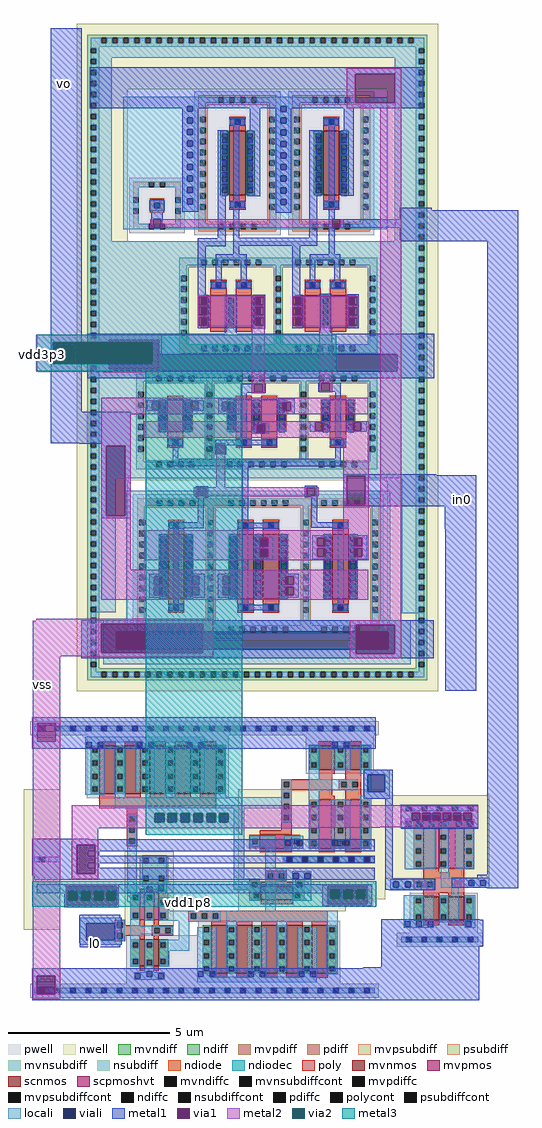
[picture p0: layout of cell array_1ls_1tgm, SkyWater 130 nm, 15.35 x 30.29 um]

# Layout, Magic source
magic
tech sky130A
magscale 1 2
<< metal1 >>
rect 174 5490 312 5888
rect 2612 2920 2804 3244
rect 2876 776 3068 2312
rect 252 705 590 718
rect 252 589 271 705
rect 579 589 590 705
rect 252 576 590 589
rect 1854 710 2164 716
rect 1854 594 1887 710
rect 2131 594 2164 710
rect 2816 698 3070 776
rect 2876 692 3068 698
rect 1854 582 2164 594
rect 348 326 598 530
<< via1 >>
rect 271 589 579 705
rect 1887 594 2131 710
<< metal2 >>
rect 158 4083 822 4102
rect 158 3947 182 4083
rect 798 3947 822 4083
rect 158 3928 822 3947
rect 56 1338 228 2354
rect 790 1159 1296 1188
rect 790 1103 815 1159
rect 871 1103 895 1159
rect 951 1103 975 1159
rect 1031 1103 1055 1159
rect 1111 1103 1135 1159
rect 1191 1103 1215 1159
rect 1271 1103 1296 1159
rect 790 1074 1296 1103
rect 260 705 590 718
rect 260 589 271 705
rect 579 589 590 705
rect 260 576 590 589
rect 1854 710 2164 716
rect 1854 594 1887 710
rect 2131 594 2164 710
rect 1854 582 2164 594
<< via2 >>
rect 182 3947 798 4083
rect 815 1103 871 1159
rect 895 1103 951 1159
rect 975 1103 1031 1159
rect 1055 1103 1111 1159
rect 1135 1103 1191 1159
rect 1215 1103 1271 1159
rect 277 619 333 675
rect 357 619 413 675
rect 437 619 493 675
rect 517 619 573 675
rect 1905 627 1961 683
rect 1985 627 2041 683
rect 2065 627 2121 683
<< metal3 >>
rect 80 4083 1940 4128
rect 80 3947 182 4083
rect 798 3947 1940 4083
rect 80 3904 1940 3947
rect 90 3902 1940 3904
rect 758 1159 1358 3902
rect 758 1103 815 1159
rect 871 1103 895 1159
rect 951 1103 975 1159
rect 1031 1103 1055 1159
rect 1111 1103 1135 1159
rect 1191 1103 1215 1159
rect 1271 1103 1358 1159
rect 758 1026 1358 1103
rect 52 683 2188 736
rect 52 675 1905 683
rect 52 619 277 675
rect 333 619 357 675
rect 413 619 437 675
rect 493 619 517 675
rect 573 627 1905 675
rect 1961 627 1985 683
rect 2041 627 2065 683
rect 2121 627 2188 683
rect 573 619 2188 627
rect 52 578 2188 619
rect 260 576 590 578
use array_1lsm  array_1lsm_0
transform 1 0 -2700 0 1 -202
box 2700 202 5594 1958
use array_1tgm  array_1tgm_0
transform -1 0 4964 0 1 1916
box 1896 0 4886 4141
<< labels >>
flabel metal1 s 2700 3074 2742 3132 0 FreeSans 625 0 0 0 in0
port 1 nsew
flabel metal1 s 436 344 454 354 0 FreeSans 625 0 0 0 l0
port 2 nsew
flabel metal2 s 108 1952 124 1970 0 FreeSans 506 0 0 0 vss
port 3 nsew
flabel metal1 s 238 5644 260 5726 0 FreeSans 506 0 0 0 vo
port 4 nsew
flabel metal3 s 104 3976 124 4042 0 FreeSans 506 0 0 0 vdd3p3
port 5 nsew
flabel metal3 s 1020 598 1032 616 0 FreeSans 506 0 0 0 vdd1p8
port 6 nsew
<< end >>

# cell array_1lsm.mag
magic
tech sky130A
magscale 1 2
<< nwell >>
rect 4708 1220 4990 1474
rect 4708 954 5496 1220
<< metal1 >>
rect 4944 1220 4990 1632
rect 5082 1365 5508 1392
rect 5082 1313 5109 1365
rect 5161 1313 5173 1365
rect 5225 1313 5237 1365
rect 5289 1313 5301 1365
rect 5353 1313 5365 1365
rect 5417 1313 5429 1365
rect 5481 1313 5508 1365
rect 5082 1286 5508 1313
rect 2998 1164 3170 1200
rect 2998 984 3028 1164
rect 3144 984 3170 1164
rect 2998 954 3170 984
rect 3000 952 3168 954
rect 3658 866 3942 920
rect 4944 886 4992 1220
rect 5480 900 5594 960
rect 3044 558 3300 726
rect 4918 406 5528 702
rect 4806 202 5528 406
<< via1 >>
rect 5109 1313 5161 1365
rect 5173 1313 5225 1365
rect 5237 1313 5289 1365
rect 5301 1313 5353 1365
rect 5365 1313 5417 1365
rect 5429 1313 5481 1365
rect 3028 984 3144 1164
<< metal2 >>
rect 5042 1410 5518 1412
rect 3000 1408 3162 1410
rect 3684 1408 5522 1410
rect 3000 1365 5522 1408
rect 3000 1313 5109 1365
rect 5161 1313 5173 1365
rect 5225 1313 5237 1365
rect 5289 1313 5301 1365
rect 5353 1313 5365 1365
rect 5417 1313 5429 1365
rect 5481 1313 5522 1365
rect 3000 1274 5522 1313
rect 3000 1272 4910 1274
rect 3000 1270 4760 1272
rect 5042 1270 5518 1274
rect 3000 1268 4526 1270
rect 3000 1164 3162 1268
rect 3000 984 3028 1164
rect 3144 984 3162 1164
rect 3000 952 3162 984
use invm  invm_0
transform 1 0 2804 0 1 226
box 2164 308 2788 1248
use lsm  lsm_0
transform 1 0 2766 0 1 260
box -66 -58 2206 1698
<< labels >>
flabel metal1 s 5522 926 5530 946 0 FreeSans 9304 0 0 0 h0
port 1 nsew
flabel metal1 s 3062 674 3076 714 0 FreeSans 9304 0 0 0 l0
port 2 nsew
flabel metal1 s 3674 878 3682 896 0 FreeSans 3757 0 0 0 vdd1p8
port 3 nsew
flabel metal2 s 3574 1306 3582 1324 0 FreeSans 3757 0 0 0 vdd3p3
port 4 nsew
flabel metal1 s 5156 310 5198 340 0 FreeSans 3757 0 0 0 vss1p8
port 5 nsew
<< end >>

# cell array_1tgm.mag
magic
tech sky130A
magscale 1 2
<< metal1 >>
rect 1896 2794 2621 2986
rect 1896 14 2088 2794
rect 4120 2183 4442 2190
rect 4120 2003 4127 2183
rect 4435 2003 4442 2183
rect 4120 1996 4442 2003
rect 4604 1732 4796 4114
rect 4418 1540 4796 1732
rect 2156 1148 2603 1340
rect 2156 4 2348 1148
rect 3846 420 4488 422
rect 3846 240 3853 420
rect 4481 240 4488 420
rect 3846 238 4488 240
<< via1 >>
rect 4127 2003 4435 2183
rect 3853 240 4481 420
<< metal2 >>
rect 4108 2212 4466 2214
rect 4108 2183 4886 2212
rect 4108 2003 4127 2183
rect 4435 2003 4886 2183
rect 4108 1984 4886 2003
rect 4108 1980 4466 1984
rect 3790 438 4886 450
rect 3788 420 4886 438
rect 3788 240 3853 420
rect 4481 240 4886 420
rect 3788 218 4886 240
rect 3788 214 4602 218
use tg4dm  tg4dm_1
transform 1 0 2091 0 1 2311
box 301 -2311 2543 1830
<< labels >>
flabel metal2 s 4744 238 4812 390 0 FreeSans 5955 0 0 0 vss3p3
port 1 nsew
flabel metal2 s 4836 2020 4874 2114 0 FreeSans 5955 0 0 0 vdd3p3
port 2 nsew
flabel metal1 s 1926 68 1964 162 0 FreeSans 5955 0 0 0 s0
port 3 nsew
flabel metal1 s 2210 58 2248 152 0 FreeSans 5955 0 0 0 in0
port 4 nsew
flabel metal1 s 4698 3594 4722 3660 0 FreeSans 506 0 0 0 vo
port 5 nsew
<< end >>

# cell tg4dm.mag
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
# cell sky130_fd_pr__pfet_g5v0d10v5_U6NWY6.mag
magic
tech sky130A
magscale 1 2
<< nwell >>
rect -308 -362 308 362
<< mvpmos >>
rect -50 -64 50 136
<< mvpdiff >>
rect -108 121 -50 136
rect -108 87 -96 121
rect -62 87 -50 121
rect -108 53 -50 87
rect -108 19 -96 53
rect -62 19 -50 53
rect -108 -15 -50 19
rect -108 -49 -96 -15
rect -62 -49 -50 -15
rect -108 -64 -50 -49
rect 50 121 108 136
rect 50 87 62 121
rect 96 87 108 121
rect 50 53 108 87
rect 50 19 62 53
rect 96 19 108 53
rect 50 -15 108 19
rect 50 -49 62 -15
rect 96 -49 108 -15
rect 50 -64 108 -49
<< mvpdiffc >>
rect -96 87 -62 121
rect -96 19 -62 53
rect -96 -49 -62 -15
rect 62 87 96 121
rect 62 19 96 53
rect 62 -49 96 -15
<< mvnsubdiff >>
rect -242 284 242 296
rect -242 250 -119 284
rect -85 250 -51 284
rect -17 250 17 284
rect 51 250 85 284
rect 119 250 242 284
rect -242 238 242 250
rect -242 187 -184 238
rect -242 153 -230 187
rect -196 153 -184 187
rect 184 187 242 238
rect -242 119 -184 153
rect 184 153 196 187
rect 230 153 242 187
rect -242 85 -230 119
rect -196 85 -184 119
rect -242 51 -184 85
rect -242 17 -230 51
rect -196 17 -184 51
rect -242 -17 -184 17
rect -242 -51 -230 -17
rect -196 -51 -184 -17
rect -242 -85 -184 -51
rect 184 119 242 153
rect 184 85 196 119
rect 230 85 242 119
rect 184 51 242 85
rect 184 17 196 51
rect 230 17 242 51
rect 184 -17 242 17
rect 184 -51 196 -17
rect 230 -51 242 -17
rect -242 -119 -230 -85
rect -196 -119 -184 -85
rect -242 -153 -184 -119
rect -242 -187 -230 -153
rect -196 -187 -184 -153
rect 184 -85 242 -51
rect 184 -119 196 -85
rect 230 -119 242 -85
rect 184 -153 242 -119
rect -242 -238 -184 -187
rect 184 -187 196 -153
rect 230 -187 242 -153
rect 184 -238 242 -187
rect -242 -250 242 -238
rect -242 -284 -119 -250
rect -85 -284 -51 -250
rect -17 -284 17 -250
rect 51 -284 85 -250
rect 119 -284 242 -250
rect -242 -296 242 -284
<< mvnsubdiffcont >>
rect -119 250 -85 284
rect -51 250 -17 284
rect 17 250 51 284
rect 85 250 119 284
rect -230 153 -196 187
rect 196 153 230 187
rect -230 85 -196 119
rect -230 17 -196 51
rect -230 -51 -196 -17
rect 196 85 230 119
rect 196 17 230 51
rect 196 -51 230 -17
rect -230 -119 -196 -85
rect -230 -187 -196 -153
rect 196 -119 230 -85
rect 196 -187 230 -153
rect -119 -284 -85 -250
rect -51 -284 -17 -250
rect 17 -284 51 -250
rect 85 -284 119 -250
<< poly >>
rect -50 136 50 162
rect -50 -111 50 -64
rect -50 -145 -17 -111
rect 17 -145 50 -111
rect -50 -161 50 -145
<< polycont >>
rect -17 -145 17 -111
<< locali >>
rect -230 250 -119 284
rect -85 250 -51 284
rect -17 250 17 284
rect 51 250 85 284
rect 119 250 230 284
rect -230 187 -196 250
rect -230 119 -196 153
rect 196 187 230 250
rect -230 51 -196 85
rect -230 -17 -196 17
rect -230 -85 -196 -51
rect -96 121 -62 140
rect -96 53 -62 55
rect -96 17 -62 19
rect -96 -68 -62 -49
rect 62 121 96 140
rect 62 53 96 55
rect 62 17 96 19
rect 62 -68 96 -49
rect 196 119 230 153
rect 196 51 230 85
rect 196 -17 230 17
rect 196 -85 230 -51
rect -230 -153 -196 -119
rect -50 -145 -17 -111
rect 17 -145 50 -111
rect -230 -250 -196 -187
rect 196 -153 230 -119
rect 196 -250 230 -187
rect -230 -284 -119 -250
rect -85 -284 -51 -250
rect -17 -284 17 -250
rect 51 -284 85 -250
rect 119 -284 230 -250
<< viali >>
rect -96 87 -62 89
rect -96 55 -62 87
rect -96 -15 -62 17
rect -96 -17 -62 -15
rect 62 87 96 89
rect 62 55 96 87
rect 62 -15 96 17
rect 62 -17 96 -15
rect -17 -145 17 -111
<< metal1 >>
rect -102 89 -56 136
rect -102 55 -96 89
rect -62 55 -56 89
rect -102 17 -56 55
rect -102 -17 -96 17
rect -62 -17 -56 17
rect -102 -64 -56 -17
rect 56 89 102 136
rect 56 55 62 89
rect 96 55 102 89
rect 56 17 102 55
rect 56 -17 62 17
rect 96 -17 102 17
rect 56 -64 102 -17
rect -46 -111 46 -105
rect -46 -145 -17 -111
rect 17 -145 46 -111
rect -46 -151 46 -145
<< properties >>
string FIXED_BBOX -213 -267 213 267
<< end >>

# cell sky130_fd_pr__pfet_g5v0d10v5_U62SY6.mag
magic
tech sky130A
magscale 1 2
<< nwell >>
rect -387 -362 387 362
<< mvpmos >>
rect -129 -64 -29 136
rect 29 -64 129 136
<< mvpdiff >>
rect -187 121 -129 136
rect -187 87 -175 121
rect -141 87 -129 121
rect -187 53 -129 87
rect -187 19 -175 53
rect -141 19 -129 53
rect -187 -15 -129 19
rect -187 -49 -175 -15
rect -141 -49 -129 -15
rect -187 -64 -129 -49
rect -29 121 29 136
rect -29 87 -17 121
rect 17 87 29 121
rect -29 53 29 87
rect -29 19 -17 53
rect 17 19 29 53
rect -29 -15 29 19
rect -29 -49 -17 -15
rect 17 -49 29 -15
rect -29 -64 29 -49
rect 129 121 187 136
rect 129 87 141 121
rect 175 87 187 121
rect 129 53 187 87
rect 129 19 141 53
rect 175 19 187 53
rect 129 -15 187 19
rect 129 -49 141 -15
rect 175 -49 187 -15
rect 129 -64 187 -49
<< mvpdiffc >>
rect -175 87 -141 121
rect -175 19 -141 53
rect -175 -49 -141 -15
rect -17 87 17 121
rect -17 19 17 53
rect -17 -49 17 -15
rect 141 87 175 121
rect 141 19 175 53
rect 141 -49 175 -15
<< mvnsubdiff >>
rect -321 284 321 296
rect -321 250 -187 284
rect -153 250 -119 284
rect -85 250 -51 284
rect -17 250 17 284
rect 51 250 85 284
rect 119 250 153 284
rect 187 250 321 284
rect -321 238 321 250
rect -321 187 -263 238
rect -321 153 -309 187
rect -275 153 -263 187
rect 263 187 321 238
rect -321 119 -263 153
rect 263 153 275 187
rect 309 153 321 187
rect -321 85 -309 119
rect -275 85 -263 119
rect -321 51 -263 85
rect -321 17 -309 51
rect -275 17 -263 51
rect -321 -17 -263 17
rect -321 -51 -309 -17
rect -275 -51 -263 -17
rect -321 -85 -263 -51
rect 263 119 321 153
rect 263 85 275 119
rect 309 85 321 119
rect 263 51 321 85
rect 263 17 275 51
rect 309 17 321 51
rect 263 -17 321 17
rect 263 -51 275 -17
rect 309 -51 321 -17
rect -321 -119 -309 -85
rect -275 -119 -263 -85
rect -321 -153 -263 -119
rect -321 -187 -309 -153
rect -275 -187 -263 -153
rect 263 -85 321 -51
rect 263 -119 275 -85
rect 309 -119 321 -85
rect 263 -153 321 -119
rect -321 -238 -263 -187
rect 263 -187 275 -153
rect 309 -187 321 -153
rect 263 -238 321 -187
rect -321 -250 321 -238
rect -321 -284 -187 -250
rect -153 -284 -119 -250
rect -85 -284 -51 -250
rect -17 -284 17 -250
rect 51 -284 85 -250
rect 119 -284 153 -250
rect 187 -284 321 -250
rect -321 -296 321 -284
<< mvnsubdiffcont >>
rect -187 250 -153 284
rect -119 250 -85 284
rect -51 250 -17 284
rect 17 250 51 284
rect 85 250 119 284
rect 153 250 187 284
rect -309 153 -275 187
rect 275 153 309 187
rect -309 85 -275 119
rect -309 17 -275 51
rect -309 -51 -275 -17
rect 275 85 309 119
rect 275 17 309 51
rect 275 -51 309 -17
rect -309 -119 -275 -85
rect -309 -187 -275 -153
rect 275 -119 309 -85
rect 275 -187 309 -153
rect -187 -284 -153 -250
rect -119 -284 -85 -250
rect -51 -284 -17 -250
rect 17 -284 51 -250
rect 85 -284 119 -250
rect 153 -284 187 -250
<< poly >>
rect -129 136 -29 162
rect 29 136 129 162
rect -129 -111 -29 -64
rect -129 -145 -96 -111
rect -62 -145 -29 -111
rect -129 -161 -29 -145
rect 29 -111 129 -64
rect 29 -145 62 -111
rect 96 -145 129 -111
rect 29 -161 129 -145
<< polycont >>
rect -96 -145 -62 -111
rect 62 -145 96 -111
<< locali >>
rect -309 250 -187 284
rect -153 250 -119 284
rect -85 250 -51 284
rect -17 250 17 284
rect 51 250 85 284
rect 119 250 153 284
rect 187 250 309 284
rect -309 187 -275 250
rect -309 119 -275 153
rect 275 187 309 250
rect -309 51 -275 85
rect -309 -17 -275 17
rect -309 -85 -275 -51
rect -175 121 -141 140
rect -175 53 -141 55
rect -175 17 -141 19
rect -175 -68 -141 -49
rect -17 121 17 140
rect -17 53 17 55
rect -17 17 17 19
rect -17 -68 17 -49
rect 141 121 175 140
rect 141 53 175 55
rect 141 17 175 19
rect 141 -68 175 -49
rect 275 119 309 153
rect 275 51 309 85
rect 275 -17 309 17
rect 275 -85 309 -51
rect -309 -153 -275 -119
rect -129 -145 -96 -111
rect -62 -145 -29 -111
rect 29 -145 62 -111
rect 96 -145 129 -111
rect -309 -250 -275 -187
rect 275 -153 309 -119
rect 275 -250 309 -187
rect -309 -284 -187 -250
rect -153 -284 -119 -250
rect -85 -284 -51 -250
rect -17 -284 17 -250
rect 51 -284 85 -250
rect 119 -284 153 -250
rect 187 -284 309 -250
<< viali >>
rect -175 87 -141 89
rect -175 55 -141 87
rect -175 -15 -141 17
rect -175 -17 -141 -15
rect -17 87 17 89
rect -17 55 17 87
rect -17 -15 17 17
rect -17 -17 17 -15
rect 141 87 175 89
rect 141 55 175 87
rect 141 -15 175 17
rect 141 -17 175 -15
rect -96 -145 -62 -111
rect 62 -145 96 -111
<< metal1 >>
rect -181 89 -135 136
rect -181 55 -175 89
rect -141 55 -135 89
rect -181 17 -135 55
rect -181 -17 -175 17
rect -141 -17 -135 17
rect -181 -64 -135 -17
rect -23 89 23 136
rect -23 55 -17 89
rect 17 55 23 89
rect -23 17 23 55
rect -23 -17 -17 17
rect 17 -17 23 17
rect -23 -64 23 -17
rect 135 89 181 136
rect 135 55 141 89
rect 175 55 181 89
rect 135 17 181 55
rect 135 -17 141 17
rect 175 -17 181 17
rect 135 -64 181 -17
rect -125 -111 -33 -105
rect -125 -145 -96 -111
rect -62 -145 -33 -111
rect -125 -151 -33 -145
rect 33 -111 125 -105
rect 33 -145 62 -111
rect 96 -145 125 -111
rect 33 -151 125 -145
<< properties >>
string FIXED_BBOX -292 -267 292 267
<< end >>

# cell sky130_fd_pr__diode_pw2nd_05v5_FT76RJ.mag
magic
tech sky130A
magscale 1 2
<< pwell >>
rect -173 -173 173 173
<< psubdiff >>
rect -147 113 -51 147
rect -17 113 17 147
rect 51 113 147 147
rect -147 51 -113 113
rect 113 51 147 113
rect -147 -17 -113 17
rect 113 -17 147 17
rect -147 -113 -113 -51
rect 113 -113 147 -51
rect -147 -147 -51 -113
rect -17 -147 17 -113
rect 51 -147 147 -113
<< psubdiffcont >>
rect -51 113 -17 147
rect 17 113 51 147
rect -147 17 -113 51
rect -147 -51 -113 -17
rect 113 17 147 51
rect 113 -51 147 -17
rect -51 -147 -17 -113
rect 17 -147 51 -113
<< ndiode >>
rect -45 17 45 45
rect -45 -17 -17 17
rect 17 -17 45 17
rect -45 -45 45 -17
<< ndiodec >>
rect -17 -17 17 17
<< locali >>
rect -147 113 -51 147
rect -17 113 17 147
rect 51 113 147 147
rect -147 51 -113 113
rect 113 51 147 113
rect -147 -17 -113 17
rect -49 17 49 33
rect -49 -17 -17 17
rect 17 -17 49 17
rect -49 -33 49 -17
rect 113 -17 147 17
rect -147 -113 -113 -51
rect 113 -113 147 -51
rect -147 -147 -51 -113
rect -17 -147 17 -113
rect 51 -147 147 -113
<< viali >>
rect -17 -17 17 17
<< metal1 >>
rect -45 17 45 39
rect -45 -17 -17 17
rect 17 -17 45 17
rect -45 -39 45 -17
<< properties >>
string FIXED_BBOX -130 -130 130 130
<< end >>

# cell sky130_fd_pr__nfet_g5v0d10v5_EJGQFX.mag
magic
tech sky130A
magscale 1 2
<< pwell >>
rect -347 -448 347 448
<< mvnmos >>
rect -129 -200 -29 200
rect 29 -200 129 200
<< mvndiff >>
rect -187 187 -129 200
rect -187 153 -175 187
rect -141 153 -129 187
rect -187 119 -129 153
rect -187 85 -175 119
rect -141 85 -129 119
rect -187 51 -129 85
rect -187 17 -175 51
rect -141 17 -129 51
rect -187 -17 -129 17
rect -187 -51 -175 -17
rect -141 -51 -129 -17
rect -187 -85 -129 -51
rect -187 -119 -175 -85
rect -141 -119 -129 -85
rect -187 -153 -129 -119
rect -187 -187 -175 -153
rect -141 -187 -129 -153
rect -187 -200 -129 -187
rect -29 187 29 200
rect -29 153 -17 187
rect 17 153 29 187
rect -29 119 29 153
rect -29 85 -17 119
rect 17 85 29 119
rect -29 51 29 85
rect -29 17 -17 51
rect 17 17 29 51
rect -29 -17 29 17
rect -29 -51 -17 -17
rect 17 -51 29 -17
rect -29 -85 29 -51
rect -29 -119 -17 -85
rect 17 -119 29 -85
rect -29 -153 29 -119
rect -29 -187 -17 -153
rect 17 -187 29 -153
rect -29 -200 29 -187
rect 129 187 187 200
rect 129 153 141 187
rect 175 153 187 187
rect 129 119 187 153
rect 129 85 141 119
rect 175 85 187 119
rect 129 51 187 85
rect 129 17 141 51
rect 175 17 187 51
rect 129 -17 187 17
rect 129 -51 141 -17
rect 175 -51 187 -17
rect 129 -85 187 -51
rect 129 -119 141 -85
rect 175 -119 187 -85
rect 129 -153 187 -119
rect 129 -187 141 -153
rect 175 -187 187 -153
rect 129 -200 187 -187
<< mvndiffc >>
rect -175 153 -141 187
rect -175 85 -141 119
rect -175 17 -141 51
rect -175 -51 -141 -17
rect -175 -119 -141 -85
rect -175 -187 -141 -153
rect -17 153 17 187
rect -17 85 17 119
rect -17 17 17 51
rect -17 -51 17 -17
rect -17 -119 17 -85
rect -17 -187 17 -153
rect 141 153 175 187
rect 141 85 175 119
rect 141 17 175 51
rect 141 -51 175 -17
rect 141 -119 175 -85
rect 141 -187 175 -153
<< mvpsubdiff >>
rect -321 410 321 422
rect -321 376 -187 410
rect -153 376 -119 410
rect -85 376 -51 410
rect -17 376 17 410
rect 51 376 85 410
rect 119 376 153 410
rect 187 376 321 410
rect -321 364 321 376
rect -321 -364 -263 364
rect 263 -364 321 364
rect -321 -376 321 -364
rect -321 -410 -187 -376
rect -153 -410 -119 -376
rect -85 -410 -51 -376
rect -17 -410 17 -376
rect 51 -410 85 -376
rect 119 -410 153 -376
rect 187 -410 321 -376
rect -321 -422 321 -410
<< mvpsubdiffcont >>
rect -187 376 -153 410
rect -119 376 -85 410
rect -51 376 -17 410
rect 17 376 51 410
rect 85 376 119 410
rect 153 376 187 410
rect -187 -410 -153 -376
rect -119 -410 -85 -376
rect -51 -410 -17 -376
rect 17 -410 51 -376
rect 85 -410 119 -376
rect 153 -410 187 -376
<< poly >>
rect -129 272 -29 288
rect -129 238 -96 272
rect -62 238 -29 272
rect -129 200 -29 238
rect 29 272 129 288
rect 29 238 62 272
rect 96 238 129 272
rect 29 200 129 238
rect -129 -238 -29 -200
rect -129 -272 -96 -238
rect -62 -272 -29 -238
rect -129 -288 -29 -272
rect 29 -238 129 -200
rect 29 -272 62 -238
rect 96 -272 129 -238
rect 29 -288 129 -272
<< polycont >>
rect -96 238 -62 272
rect 62 238 96 272
rect -96 -272 -62 -238
rect 62 -272 96 -238
<< locali >>
rect -309 376 -187 410
rect -153 376 -119 410
rect -85 376 -51 410
rect -17 376 17 410
rect 51 376 85 410
rect 119 376 153 410
rect 187 376 309 410
rect -309 -376 -275 376
rect -129 238 -96 272
rect -62 238 -29 272
rect 29 238 62 272
rect 96 238 129 272
rect -175 187 -141 204
rect -175 119 -141 127
rect -175 51 -141 55
rect -175 -55 -141 -51
rect -175 -127 -141 -119
rect -175 -204 -141 -187
rect -17 187 17 204
rect -17 119 17 127
rect -17 51 17 55
rect -17 -55 17 -51
rect -17 -127 17 -119
rect -17 -204 17 -187
rect 141 187 175 204
rect 141 119 175 127
rect 141 51 175 55
rect 141 -55 175 -51
rect 141 -127 175 -119
rect 141 -204 175 -187
rect -129 -272 -96 -238
rect -62 -272 -29 -238
rect 29 -272 62 -238
rect 96 -272 129 -238
rect 275 -376 309 376
rect -309 -410 -187 -376
rect -153 -410 -119 -376
rect -85 -410 -51 -376
rect -17 -410 17 -376
rect 51 -410 85 -376
rect 119 -410 153 -376
rect 187 -410 309 -376
<< viali >>
rect -96 238 -62 272
rect 62 238 96 272
rect -175 153 -141 161
rect -175 127 -141 153
rect -175 85 -141 89
rect -175 55 -141 85
rect -175 -17 -141 17
rect -175 -85 -141 -55
rect -175 -89 -141 -85
rect -175 -153 -141 -127
rect -175 -161 -141 -153
rect -17 153 17 161
rect -17 127 17 153
rect -17 85 17 89
rect -17 55 17 85
rect -17 -17 17 17
rect -17 -85 17 -55
rect -17 -89 17 -85
rect -17 -153 17 -127
rect -17 -161 17 -153
rect 141 153 175 161
rect 141 127 175 153
rect 141 85 175 89
rect 141 55 175 85
rect 141 -17 175 17
rect 141 -85 175 -55
rect 141 -89 175 -85
rect 141 -153 175 -127
rect 141 -161 175 -153
rect -96 -272 -62 -238
rect 62 -272 96 -238
<< metal1 >>
rect -125 272 -33 278
rect -125 238 -96 272
rect -62 238 -33 272
rect -125 232 -33 238
rect 33 272 125 278
rect 33 238 62 272
rect 96 238 125 272
rect 33 232 125 238
rect -181 161 -135 200
rect -181 127 -175 161
rect -141 127 -135 161
rect -181 89 -135 127
rect -181 55 -175 89
rect -141 55 -135 89
rect -181 17 -135 55
rect -181 -17 -175 17
rect -141 -17 -135 17
rect -181 -55 -135 -17
rect -181 -89 -175 -55
rect -141 -89 -135 -55
rect -181 -127 -135 -89
rect -181 -161 -175 -127
rect -141 -161 -135 -127
rect -181 -200 -135 -161
rect -23 161 23 200
rect -23 127 -17 161
rect 17 127 23 161
rect -23 89 23 127
rect -23 55 -17 89
rect 17 55 23 89
rect -23 17 23 55
rect -23 -17 -17 17
rect 17 -17 23 17
rect -23 -55 23 -17
rect -23 -89 -17 -55
rect 17 -89 23 -55
rect -23 -127 23 -89
rect -23 -161 -17 -127
rect 17 -161 23 -127
rect -23 -200 23 -161
rect 135 161 181 200
rect 135 127 141 161
rect 175 127 181 161
rect 135 89 181 127
rect 135 55 141 89
rect 175 55 181 89
rect 135 17 181 55
rect 135 -17 141 17
rect 175 -17 181 17
rect 135 -55 181 -17
rect 135 -89 141 -55
rect 175 -89 181 -55
rect 135 -127 181 -89
rect 135 -161 141 -127
rect 175 -161 181 -127
rect 135 -200 181 -161
rect -125 -238 -33 -232
rect -125 -272 -96 -238
rect -62 -272 -33 -238
rect -125 -278 -33 -272
rect 33 -238 125 -232
rect 33 -272 62 -238
rect 96 -272 125 -238
rect 33 -278 125 -272
<< properties >>
string FIXED_BBOX -292 -393 292 393
<< end >>

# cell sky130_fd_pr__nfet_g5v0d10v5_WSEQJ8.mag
magic
tech sky130A
magscale 1 2
<< pwell >>
rect -268 -448 268 448
<< mvnmos >>
rect -50 -200 50 200
<< mvndiff >>
rect -108 187 -50 200
rect -108 153 -96 187
rect -62 153 -50 187
rect -108 119 -50 153
rect -108 85 -96 119
rect -62 85 -50 119
rect -108 51 -50 85
rect -108 17 -96 51
rect -62 17 -50 51
rect -108 -17 -50 17
rect -108 -51 -96 -17
rect -62 -51 -50 -17
rect -108 -85 -50 -51
rect -108 -119 -96 -85
rect -62 -119 -50 -85
rect -108 -153 -50 -119
rect -108 -187 -96 -153
rect -62 -187 -50 -153
rect -108 -200 -50 -187
rect 50 187 108 200
rect 50 153 62 187
rect 96 153 108 187
rect 50 119 108 153
rect 50 85 62 119
rect 96 85 108 119
rect 50 51 108 85
rect 50 17 62 51
rect 96 17 108 51
rect 50 -17 108 17
rect 50 -51 62 -17
rect 96 -51 108 -17
rect 50 -85 108 -51
rect 50 -119 62 -85
rect 96 -119 108 -85
rect 50 -153 108 -119
rect 50 -187 62 -153
rect 96 -187 108 -153
rect 50 -200 108 -187
<< mvndiffc >>
rect -96 153 -62 187
rect -96 85 -62 119
rect -96 17 -62 51
rect -96 -51 -62 -17
rect -96 -119 -62 -85
rect -96 -187 -62 -153
rect 62 153 96 187
rect 62 85 96 119
rect 62 17 96 51
rect 62 -51 96 -17
rect 62 -119 96 -85
rect 62 -187 96 -153
<< mvpsubdiff >>
rect -242 410 242 422
rect -242 376 -119 410
rect -85 376 -51 410
rect -17 376 17 410
rect 51 376 85 410
rect 119 376 242 410
rect -242 364 242 376
rect -242 289 -184 364
rect -242 255 -230 289
rect -196 255 -184 289
rect 184 289 242 364
rect -242 221 -184 255
rect -242 187 -230 221
rect -196 187 -184 221
rect 184 255 196 289
rect 230 255 242 289
rect 184 221 242 255
rect -242 153 -184 187
rect -242 119 -230 153
rect -196 119 -184 153
rect -242 85 -184 119
rect -242 51 -230 85
rect -196 51 -184 85
rect -242 17 -184 51
rect -242 -17 -230 17
rect -196 -17 -184 17
rect -242 -51 -184 -17
rect -242 -85 -230 -51
rect -196 -85 -184 -51
rect -242 -119 -184 -85
rect -242 -153 -230 -119
rect -196 -153 -184 -119
rect -242 -187 -184 -153
rect -242 -221 -230 -187
rect -196 -221 -184 -187
rect 184 187 196 221
rect 230 187 242 221
rect 184 153 242 187
rect 184 119 196 153
rect 230 119 242 153
rect 184 85 242 119
rect 184 51 196 85
rect 230 51 242 85
rect 184 17 242 51
rect 184 -17 196 17
rect 230 -17 242 17
rect 184 -51 242 -17
rect 184 -85 196 -51
rect 230 -85 242 -51
rect 184 -119 242 -85
rect 184 -153 196 -119
rect 230 -153 242 -119
rect 184 -187 242 -153
rect -242 -255 -184 -221
rect -242 -289 -230 -255
rect -196 -289 -184 -255
rect 184 -221 196 -187
rect 230 -221 242 -187
rect 184 -255 242 -221
rect -242 -364 -184 -289
rect 184 -289 196 -255
rect 230 -289 242 -255
rect 184 -364 242 -289
rect -242 -376 242 -364
rect -242 -410 -119 -376
rect -85 -410 -51 -376
rect -17 -410 17 -376
rect 51 -410 85 -376
rect 119 -410 242 -376
rect -242 -422 242 -410
<< mvpsubdiffcont >>
rect -119 376 -85 410
rect -51 376 -17 410
rect 17 376 51 410
rect 85 376 119 410
rect -230 255 -196 289
rect -230 187 -196 221
rect 196 255 230 289
rect -230 119 -196 153
rect -230 51 -196 85
rect -230 -17 -196 17
rect -230 -85 -196 -51
rect -230 -153 -196 -119
rect -230 -221 -196 -187
rect 196 187 230 221
rect 196 119 230 153
rect 196 51 230 85
rect 196 -17 230 17
rect 196 -85 230 -51
rect 196 -153 230 -119
rect -230 -289 -196 -255
rect 196 -221 230 -187
rect 196 -289 230 -255
rect -119 -410 -85 -376
rect -51 -410 -17 -376
rect 17 -410 51 -376
rect 85 -410 119 -376
<< poly >>
rect -50 272 50 288
rect -50 238 -17 272
rect 17 238 50 272
rect -50 200 50 238
rect -50 -238 50 -200
rect -50 -272 -17 -238
rect 17 -272 50 -238
rect -50 -288 50 -272
<< polycont >>
rect -17 238 17 272
rect -17 -272 17 -238
<< locali >>
rect -230 376 -119 410
rect -85 376 -51 410
rect -17 376 17 410
rect 51 376 85 410
rect 119 376 230 410
rect -230 289 -196 376
rect 196 289 230 376
rect -230 221 -196 255
rect -50 238 -17 272
rect 17 238 50 272
rect 196 221 230 255
rect -230 153 -196 187
rect -230 85 -196 119
rect -230 17 -196 51
rect -230 -51 -196 -17
rect -230 -119 -196 -85
rect -230 -187 -196 -153
rect -96 187 -62 204
rect -96 119 -62 127
rect -96 51 -62 55
rect -96 -55 -62 -51
rect -96 -127 -62 -119
rect -96 -204 -62 -187
rect 62 187 96 204
rect 62 119 96 127
rect 62 51 96 55
rect 62 -55 96 -51
rect 62 -127 96 -119
rect 62 -204 96 -187
rect 196 153 230 187
rect 196 85 230 119
rect 196 17 230 51
rect 196 -51 230 -17
rect 196 -119 230 -85
rect 196 -187 230 -153
rect -230 -255 -196 -221
rect -50 -272 -17 -238
rect 17 -272 50 -238
rect 196 -255 230 -221
rect -230 -376 -196 -289
rect 196 -376 230 -289
rect -230 -410 -119 -376
rect -85 -410 -51 -376
rect -17 -410 17 -376
rect 51 -410 85 -376
rect 119 -410 230 -376
<< viali >>
rect -17 238 17 272
rect -96 153 -62 161
rect -96 127 -62 153
rect -96 85 -62 89
rect -96 55 -62 85
rect -96 -17 -62 17
rect -96 -85 -62 -55
rect -96 -89 -62 -85
rect -96 -153 -62 -127
rect -96 -161 -62 -153
rect 62 153 96 161
rect 62 127 96 153
rect 62 85 96 89
rect 62 55 96 85
rect 62 -17 96 17
rect 62 -85 96 -55
rect 62 -89 96 -85
rect 62 -153 96 -127
rect 62 -161 96 -153
rect -17 -272 17 -238
<< metal1 >>
rect -46 272 46 278
rect -46 238 -17 272
rect 17 238 46 272
rect -46 232 46 238
rect -102 161 -56 200
rect -102 127 -96 161
rect -62 127 -56 161
rect -102 89 -56 127
rect -102 55 -96 89
rect -62 55 -56 89
rect -102 17 -56 55
rect -102 -17 -96 17
rect -62 -17 -56 17
rect -102 -55 -56 -17
rect -102 -89 -96 -55
rect -62 -89 -56 -55
rect -102 -127 -56 -89
rect -102 -161 -96 -127
rect -62 -161 -56 -127
rect -102 -200 -56 -161
rect 56 161 102 200
rect 56 127 62 161
rect 96 127 102 161
rect 56 89 102 127
rect 56 55 62 89
rect 96 55 102 89
rect 56 17 102 55
rect 56 -17 62 17
rect 96 -17 102 17
rect 56 -55 102 -17
rect 56 -89 62 -55
rect 96 -89 102 -55
rect 56 -127 102 -89
rect 56 -161 62 -127
rect 96 -161 102 -127
rect 56 -200 102 -161
rect -46 -238 46 -232
rect -46 -272 -17 -238
rect 17 -272 46 -238
rect -46 -278 46 -272
<< properties >>
string FIXED_BBOX -212 -392 212 392
<< end >>

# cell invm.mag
magic
tech sky130A
magscale 1 2
<< locali >>
rect 2170 711 2326 726
rect 2170 677 2191 711
rect 2225 677 2263 711
rect 2297 677 2326 711
rect 2170 664 2326 677
rect 2488 719 2784 734
rect 2488 685 2659 719
rect 2693 685 2731 719
rect 2765 685 2784 719
rect 2488 672 2784 685
<< viali >>
rect 2191 677 2225 711
rect 2263 677 2297 711
rect 2659 685 2693 719
rect 2731 685 2765 719
<< metal1 >>
rect 2236 1042 2718 1188
rect 2164 711 2448 728
rect 2164 677 2191 711
rect 2225 677 2263 711
rect 2297 677 2448 711
rect 2164 658 2448 677
rect 2552 719 2788 734
rect 2552 685 2659 719
rect 2693 685 2731 719
rect 2765 685 2788 719
rect 2552 672 2788 685
rect 2210 310 2748 474
use sky130_fd_sc_hvl__inv_2  sky130_fd_sc_hvl__inv_2_0
transform 1 0 2238 0 1 351
box -66 -43 546 897
<< labels >>
flabel metal1 s 2286 1114 2314 1128 0 FreeSans 25 0 0 0 vdd3p3
port 1 nsew
flabel metal1 s 2294 392 2322 406 0 FreeSans 25 0 0 0 vss3p3
port 2 nsew
flabel metal1 s 2742 694 2750 704 0 FreeSans 25 0 0 0 Y
port 3 nsew
flabel metal1 s 2192 686 2200 696 0 FreeSans 25 0 0 0 A
port 4 nsew
<< end >>

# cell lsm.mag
magic
tech sky130A
magscale 1 2
<< nwell >>
rect 1790 604 2054 660
<< locali >>
rect 2044 1339 2206 1372
rect 2044 1233 2069 1339
rect 2175 1233 2206 1339
rect 2044 1192 2206 1233
rect 282 418 544 452
rect 282 312 322 418
rect 500 312 544 418
rect 282 286 544 312
<< viali >>
rect 2069 1233 2175 1339
rect 322 312 500 418
<< metal1 >>
rect -14 1660 2118 1698
rect -14 1544 17 1660
rect 133 1544 2118 1660
rect -14 1500 2118 1544
rect 2044 1339 2206 1372
rect 2044 1233 2069 1339
rect 2175 1233 2206 1339
rect 2044 1192 2206 1233
rect -14 714 336 942
rect 884 870 1158 936
rect 886 798 1196 836
rect 892 700 1208 762
rect 218 604 482 660
rect 902 606 1204 660
rect 1790 604 2054 660
rect 282 418 544 452
rect 282 312 322 418
rect 500 312 544 418
rect 282 286 544 312
rect -14 94 2126 138
rect -14 -22 15 94
rect 131 -22 2126 94
rect -14 -58 2126 -22
<< via1 >>
rect 17 1544 133 1660
rect 15 -22 131 94
<< metal2 >>
rect -10 1660 162 1696
rect -10 1544 17 1660
rect 133 1544 162 1660
rect -10 94 162 1544
rect -10 -22 15 94
rect 131 -22 162 94
rect -10 -54 162 -22
use sky130_fd_sc_hvl__lsbuflv2hv_1  sky130_fd_sc_hvl__lsbuflv2hv_1_0
transform 1 0 0 0 1 0
box -66 -43 2178 1671
<< labels >>
flabel metal1 s 358 76 404 96 0 FreeSans 94 0 0 0 vss1p8
port 1 nsew
flabel metal1 s 400 438 418 444 0 FreeSans 94 0 0 0 A
port 2 nsew
flabel metal1 s 2194 1266 2202 1282 0 FreeSans 94 0 0 0 X
port 3 nsew
flabel metal1 s 1896 620 1922 640 0 FreeSans 61 0 0 0 vdd1p8
port 4 nsew
flabel metal1 s 210 806 254 826 0 FreeSans 61 0 0 0 vdd3p3
port 5 nsew
<< end >>

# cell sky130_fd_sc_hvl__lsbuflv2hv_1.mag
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
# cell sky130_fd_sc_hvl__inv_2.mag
magic
tech sky130A
magscale 1 2
<< nwell >>
rect -66 377 546 897
<< pwell >>
rect 54 43 476 292
rect -26 -43 506 43
<< mvnmos >>
rect 137 116 237 266
rect 293 116 393 266
<< mvpmos >>
rect 137 443 237 743
rect 293 443 393 743
<< mvndiff >>
rect 80 258 137 266
rect 80 224 92 258
rect 126 224 137 258
rect 80 158 137 224
rect 80 124 92 158
rect 126 124 137 158
rect 80 116 137 124
rect 237 258 293 266
rect 237 224 248 258
rect 282 224 293 258
rect 237 158 293 224
rect 237 124 248 158
rect 282 124 293 158
rect 237 116 293 124
rect 393 258 450 266
rect 393 224 404 258
rect 438 224 450 258
rect 393 158 450 224
rect 393 124 404 158
rect 438 124 450 158
rect 393 116 450 124
<< mvpdiff >>
rect 80 735 137 743
rect 80 701 92 735
rect 126 701 137 735
rect 80 652 137 701
rect 80 618 92 652
rect 126 618 137 652
rect 80 568 137 618
rect 80 534 92 568
rect 126 534 137 568
rect 80 485 137 534
rect 80 451 92 485
rect 126 451 137 485
rect 80 443 137 451
rect 237 735 293 743
rect 237 701 248 735
rect 282 701 293 735
rect 237 652 293 701
rect 237 618 248 652
rect 282 618 293 652
rect 237 568 293 618
rect 237 534 248 568
rect 282 534 293 568
rect 237 485 293 534
rect 237 451 248 485
rect 282 451 293 485
rect 237 443 293 451
rect 393 735 450 743
rect 393 701 404 735
rect 438 701 450 735
rect 393 652 450 701
rect 393 618 404 652
rect 438 618 450 652
rect 393 568 450 618
rect 393 534 404 568
rect 438 534 450 568
rect 393 485 450 534
rect 393 451 404 485
rect 438 451 450 485
rect 393 443 450 451
<< mvndiffc >>
rect 92 224 126 258
rect 92 124 126 158
rect 248 224 282 258
rect 248 124 282 158
rect 404 224 438 258
rect 404 124 438 158
<< mvpdiffc >>
rect 92 701 126 735
rect 92 618 126 652
rect 92 534 126 568
rect 92 451 126 485
rect 248 701 282 735
rect 248 618 282 652
rect 248 534 282 568
rect 248 451 282 485
rect 404 701 438 735
rect 404 618 438 652
rect 404 534 438 568
rect 404 451 438 485
<< mvpsubdiff >>
rect 0 -17 31 17
rect 65 -17 127 17
rect 161 -17 223 17
rect 257 -17 319 17
rect 353 -17 415 17
rect 449 -17 480 17
<< mvnsubdiff >>
rect 0 797 31 831
rect 65 797 127 831
rect 161 797 223 831
rect 257 797 319 831
rect 353 797 415 831
rect 449 797 480 831
<< mvpsubdiffcont >>
rect 31 -17 65 17
rect 127 -17 161 17
rect 223 -17 257 17
rect 319 -17 353 17
rect 415 -17 449 17
<< mvnsubdiffcont >>
rect 31 797 65 831
rect 127 797 161 831
rect 223 797 257 831
rect 319 797 353 831
rect 415 797 449 831
<< poly >>
rect 137 743 237 769
rect 293 743 393 769
rect 137 417 237 443
rect 293 417 393 443
rect 137 376 393 417
rect 80 360 393 376
rect 80 326 96 360
rect 130 326 164 360
rect 198 326 393 360
rect 80 310 393 326
rect 137 292 393 310
rect 137 266 237 292
rect 293 266 393 292
rect 137 90 237 116
rect 293 90 393 116
<< polycont >>
rect 96 326 130 360
rect 164 326 198 360
<< locali >>
rect 0 797 31 831
rect 65 797 127 831
rect 161 797 223 831
rect 257 797 319 831
rect 353 797 415 831
rect 449 797 480 831
rect 22 735 212 751
rect 22 701 28 735
rect 62 701 92 735
rect 134 701 172 735
rect 206 701 212 735
rect 22 652 212 701
rect 22 618 92 652
rect 126 618 212 652
rect 22 568 212 618
rect 22 534 92 568
rect 126 534 212 568
rect 22 485 212 534
rect 22 451 92 485
rect 126 451 212 485
rect 22 435 212 451
rect 248 735 298 751
rect 282 701 298 735
rect 248 652 298 701
rect 282 618 298 652
rect 248 568 298 618
rect 282 534 298 568
rect 248 485 298 534
rect 282 451 298 485
rect 25 360 214 376
rect 25 326 96 360
rect 130 326 164 360
rect 198 326 214 360
rect 25 310 214 326
rect 248 356 298 451
rect 336 735 454 751
rect 336 701 342 735
rect 376 701 404 735
rect 448 701 454 735
rect 336 652 454 701
rect 336 618 404 652
rect 438 618 454 652
rect 336 568 454 618
rect 336 534 404 568
rect 438 534 454 568
rect 336 485 454 534
rect 336 451 404 485
rect 438 451 454 485
rect 336 435 454 451
rect 248 322 359 356
rect 313 274 359 322
rect 18 258 204 274
rect 18 224 92 258
rect 126 224 204 258
rect 18 158 204 224
rect 18 124 92 158
rect 126 124 204 158
rect 18 113 204 124
rect 18 79 22 113
rect 56 79 94 113
rect 128 79 166 113
rect 200 79 204 113
rect 240 258 359 274
rect 240 224 248 258
rect 282 224 359 258
rect 240 158 359 224
rect 240 124 248 158
rect 282 124 359 158
rect 240 108 359 124
rect 396 258 462 274
rect 396 224 404 258
rect 438 224 462 258
rect 396 158 462 224
rect 396 124 404 158
rect 438 124 462 158
rect 396 113 462 124
rect 18 73 204 79
rect 396 79 402 113
rect 436 79 462 113
rect 396 73 462 79
rect 0 -17 31 17
rect 65 -17 127 17
rect 161 -17 223 17
rect 257 -17 319 17
rect 353 -17 415 17
rect 449 -17 480 17
<< viali >>
rect 31 797 65 831
rect 127 797 161 831
rect 223 797 257 831
rect 319 797 353 831
rect 415 797 449 831
rect 28 701 62 735
rect 100 701 126 735
rect 126 701 134 735
rect 172 701 206 735
rect 342 701 376 735
rect 414 701 438 735
rect 438 701 448 735
rect 22 79 56 113
rect 94 79 128 113
rect 166 79 200 113
rect 402 79 436 113
rect 31 -17 65 17
rect 127 -17 161 17
rect 223 -17 257 17
rect 319 -17 353 17
rect 415 -17 449 17
<< metal1 >>
rect 0 831 480 837
rect 0 797 31 831
rect 65 797 127 831
rect 161 797 223 831
rect 257 797 319 831
rect 353 797 415 831
rect 449 797 480 831
rect 0 791 480 797
rect 0 735 480 763
rect 0 701 28 735
rect 62 701 100 735
rect 134 701 172 735
rect 206 701 342 735
rect 376 701 414 735
rect 448 701 480 735
rect 0 689 480 701
rect 0 113 480 125
rect 0 79 22 113
rect 56 79 94 113
rect 128 79 166 113
rect 200 79 402 113
rect 436 79 480 113
rect 0 51 480 79
rect 0 17 480 23
rect 0 -17 31 17
rect 65 -17 127 17
rect 161 -17 223 17
rect 257 -17 319 17
rect 353 -17 415 17
rect 449 -17 480 17
rect 0 -23 480 -17
<< labels >>
flabel metal1 s 0 51 480 125 0 FreeSans 31 0 0 0 VGND
port 1 nsew
flabel metal1 s 0 0 480 23 0 FreeSans 31 0 0 0 VNB
port 2 nsew
flabel metal1 s 0 689 480 763 0 FreeSans 31 0 0 0 VPWR
port 3 nsew
flabel metal1 s 0 791 480 814 0 FreeSans 31 0 0 0 VPB
port 4 nsew
flabel locali s 31 316 65 350 0 FreeSans 31 0 0 0 A
port 5 nsew
flabel locali s 127 316 161 350 0 FreeSans 31 0 0 0 A
port 5 nsew
flabel locali s 319 168 353 202 0 FreeSans 31 0 0 0 Y
port 6 nsew
flabel locali s 319 242 353 276 0 FreeSans 31 0 0 0 Y
port 6 nsew
flabel locali s 319 316 353 350 0 FreeSans 31 0 0 0 Y
port 6 nsew
<< properties >>
string FIXED_BBOX 0 0 480 814
<< end >>
